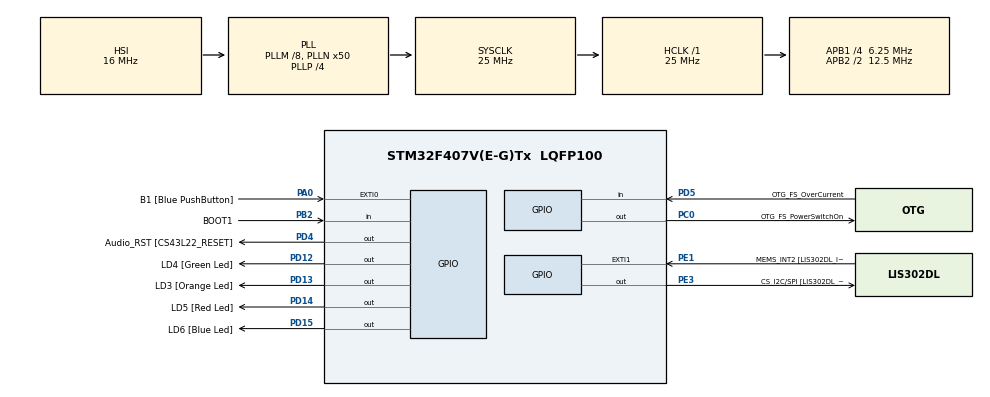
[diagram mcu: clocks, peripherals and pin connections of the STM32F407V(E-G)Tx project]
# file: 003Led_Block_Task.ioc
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Mcu.Family=STM32F4
Mcu.Name=STM32F407V(E-G)Tx
Mcu.Package=LQFP100
NVIC.PriorityGroup=NVIC_PRIORITYGROUP_4
NVIC.TIM6_DAC_IRQn=true\:15\:0\:false\:false\:true\:false\:true\:true
NVIC.TimeBase=TIM6_DAC_IRQn
NVIC.TimeBaseIP=TIM6
PA0-WKUP.GPIO_Label=B1 [Blue PushButton]
PA0-WKUP.Signal=GPXTI0
PA10.GPIO_Label=OTG_FS_ID
PA10.GPIO_Mode=GPIO_MODE_AF_PP
PA10.GPIO_PuPd=GPIO_NOPULL
PA10.GPIO_Speed=GPIO_SPEED_FREQ_LOW
PA10.Signal=USB_OTG_FS_ID
PA11.GPIO_Label=OTG_FS_DM
PA11.GPIO_Mode=GPIO_MODE_AF_PP
PA11.GPIO_PuPd=GPIO_NOPULL
PA11.GPIO_Speed=GPIO_SPEED_FREQ_LOW
PA11.Signal=USB_OTG_FS_DM
PA12.GPIO_Label=OTG_FS_DP
PA12.GPIO_Mode=GPIO_MODE_AF_PP
PA12.GPIO_PuPd=GPIO_NOPULL
PA12.GPIO_Speed=GPIO_SPEED_FREQ_LOW
PA12.Signal=USB_OTG_FS_DP
PA13.GPIO_Label=SWDIO
PA13.Signal=SYS_JTMS-SWDIO
PA14.GPIO_Label=SWCLK
PA14.Signal=SYS_JTCK-SWCLK
PA4.GPIO_Label=I2S3_WS [CS43L22_LRCK]
PA4.GPIO_Mode=GPIO_MODE_AF_PP
PA4.GPIO_PuPd=GPIO_NOPULL
PA4.GPIO_Speed=GPIO_SPEED_FREQ_LOW
PA4.Signal=I2S3_WS
PA5.GPIO_Label=SPI1_SCK [LIS302DL_SCL/SPC]
PA5.GPIO_Mode=GPIO_MODE_AF_PP
PA5.GPIO_PuPd=GPIO_NOPULL
PA5.GPIO_Speed=GPIO_SPEED_FREQ_LOW
PA5.Signal=SPI1_SCK
PA6.GPIO_Label=SPI1_MISO [LIS302DL_SDO]
PA6.GPIO_Mode=GPIO_MODE_AF_PP
PA6.GPIO_PuPd=GPIO_NOPULL
PA6.GPIO_Speed=GPIO_SPEED_FREQ_LOW
PA6.Signal=SPI1_MISO
PA7.GPIO_Label=SPI1_MOSI [LIS302DL_SDA/SDI/SDO]
PA7.GPIO_Mode=GPIO_MODE_AF_PP
PA7.GPIO_PuPd=GPIO_NOPULL
PA7.GPIO_Speed=GPIO_SPEED_FREQ_LOW
PA7.Signal=SPI1_MOSI
PA9.GPIO_Label=VBUS_FS
PA9.GPIO_Mode=GPIO_MODE_INPUT
PA9.GPIO_PuPd=GPIO_NOPULL
PA9.Signal=USB_OTG_FS_VBUS
PB10.GPIO_Label=CLK_IN [MP45DT02_CLK]
PB10.GPIO_Mode=GPIO_MODE_AF_PP
PB10.GPIO_PuPd=GPIO_NOPULL
PB10.GPIO_Speed=GPIO_SPEED_FREQ_LOW
PB10.Signal=I2S2_CK
PB2.GPIO_Label=BOOT1
PB2.GPIO_Mode=GPIO_MODE_INPUT
PB2.GPIO_PuPd=GPIO_NOPULL
PB2.Signal=GPIO_Input
PB3.GPIO_Label=SWO
PB3.Signal=SYS_JTDO-SWO
PB6.GPIO_Label=Audio_SCL [CS43L22_SCL]
PB6.GPIO_Mode=GPIO_MODE_AF_OD
PB6.GPIO_PuPd=GPIO_NOPULL
PB6.GPIO_Speed=GPIO_SPEED_FREQ_LOW
PB6.Signal=I2C1_SCL
PB9.GPIO_Label=Audio_SDA [CS43L22_SDA]
PB9.GPIO_Mode=GPIO_MODE_AF_OD
PB9.GPIO_PuPd=GPIO_NOPULL
PB9.GPIO_Speed=GPIO_SPEED_FREQ_LOW
PB9.Signal=I2C1_SDA
PC0.GPIO_Label=OTG_FS_PowerSwitchOn
PC0.GPIO_PuPd=GPIO_NOPULL
PC0.GPIO_Speed=GPIO_SPEED_FREQ_LOW
PC0.PinState=GPIO_PIN_SET
PC0.Signal=GPIO_Output
PC10.GPIO_Label=I2S3_SCK [CS43L22_SCLK]
PC10.GPIO_Mode=GPIO_MODE_AF_PP
PC10.GPIO_PuPd=GPIO_NOPULL
PC10.GPIO_Speed=GPIO_SPEED_FREQ_LOW
PC10.Signal=I2S3_CK
PC12.GPIO_Label=I2S3_SD [CS43L22_SDIN]
PC12.GPIO_Mode=GPIO_MODE_AF_PP
PC12.GPIO_PuPd=GPIO_NOPULL
PC12.GPIO_Speed=GPIO_SPEED_FREQ_LOW
PC12.Signal=I2S3_SD
PC14-OSC32_IN.GPIO_Label=PC14-OSC32_IN
PC14-OSC32_IN.Signal=RCC_OSC32_IN
PC15-OSC32_OUT.GPIO_Label=PC15-OSC32_OUT
PC15-OSC32_OUT.Signal=RCC_OSC32_OUT
PC3.GPIO_Label=PDM_OUT [MP45DT02_DOUT]
PC3.GPIO_Mode=GPIO_MODE_AF_PP
PC3.GPIO_PuPd=GPIO_NOPULL
PC3.GPIO_Speed=GPIO_SPEED_FREQ_LOW
PC3.Signal=I2S2_SD
PC7.GPIO_Label=I2S3_MCK [CS43L22_MCLK]
PC7.GPIO_Mode=GPIO_MODE_AF_PP
PC7.GPIO_PuPd=GPIO_NOPULL
PC7.GPIO_Speed=GPIO_SPEED_FREQ_LOW
PC7.Signal=I2S3_MCK
PD12.GPIO_Label=LD4 [Green Led]
PD12.GPIO_PuPd=GPIO_NOPULL
PD12.GPIO_Speed=GPIO_SPEED_FREQ_LOW
PD12.Signal=GPIO_Output
PD13.GPIO_Label=LD3 [Orange Led]
PD13.GPIO_PuPd=GPIO_NOPULL
PD13.GPIO_Speed=GPIO_SPEED_FREQ_LOW
PD13.Signal=GPIO_Output
PD14.GPIO_Label=LD5 [Red Led]
PD14.GPIO_PuPd=GPIO_NOPULL
PD14.GPIO_Speed=GPIO_SPEED_FREQ_LOW
PD14.Signal=GPIO_Output
PD15.GPIO_Label=LD6 [Blue Led]
PD15.GPIO_PuPd=GPIO_NOPULL
PD15.GPIO_Speed=GPIO_SPEED_FREQ_LOW
PD15.Signal=GPIO_Output
PD4.GPIO_Label=Audio_RST [CS43L22_RESET]
PD4.GPIO_PuPd=GPIO_NOPULL
PD4.GPIO_Speed=GPIO_SPEED_FREQ_LOW
PD4.Signal=GPIO_Output
PD5.GPIO_Label=OTG_FS_OverCurrent
PD5.GPIO_Mode=GPIO_MODE_INPUT
PD5.GPIO_PuPd=GPIO_NOPULL
PD5.Signal=GPIO_Input
PE1.GPIO_Label=MEMS_INT2 [LIS302DL_INT2]
PE1.GPIO_ModeDefaultEXTI=GPIO_MODE_EVT_RISING
PE1.GPIO_PuPd=GPIO_NOPULL
PE1.Signal=GPXTI1
PE3.GPIO_Label=CS_I2C/SPI [LIS302DL_CS_I2C/SPI]
PE3.GPIO_PuPd=GPIO_NOPULL
PE3.GPIO_Speed=GPIO_SPEED_FREQ_LOW
PE3.Signal=GPIO_Output
PH0-OSC_IN.GPIO_Label=PH0-OSC_IN
PH0-OSC_IN.Signal=RCC_OSC_IN
PH1-OSC_OUT.GPIO_Label=PH1-OSC_OUT
PH1-OSC_OUT.Signal=RCC_OSC_OUT
ProjectManager.HeapSize=0x200
ProjectManager.StackSize=0x400
ProjectManager.TargetToolchain=STM32CubeIDE
RCC.48MHZClocksFreq_Value=14285714.285714285
RCC.AHBFreq_Value=25000000
RCC.APB1CLKDivider=RCC_HCLK_DIV4
RCC.APB1Freq_Value=6250000
RCC.APB1TimFreq_Value=12500000
RCC.APB2CLKDivider=RCC_HCLK_DIV2
RCC.APB2Freq_Value=12500000
RCC.APB2TimFreq_Value=25000000
RCC.CortexFreq_Value=25000000
RCC.HCLKFreq_Value=25000000
RCC.HSE_VALUE=8000000
RCC.HSI_VALUE=16000000
RCC.LSE_VALUE=32768
RCC.PLLM=8
RCC.PLLN=50
RCC.PLLP=RCC_PLLP_DIV4
RCC.PLLQ=7
RCC.SYSCLKFreq_VALUE=25000000
RCC.SYSCLKSource=RCC_SYSCLKSOURCE_PLLCLK
RCC.VCOOutputFreq_Value=100000000
VP_SYS_VS_tim6.Mode=TIM6
board=STM32F407G-DISC1

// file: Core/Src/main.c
/* USER CODE BEGIN Header */
/**
  ******************************************************************************
  * @file           : main.c
  * @brief          : Main program body
  ******************************************************************************
  * @attention
  *
  * Copyright (c) 2025 STMicroelectronics.
  * All rights reserved.
  *
  * This software is licensed under terms that can be found in the LICENSE file
  * in the root directory of this software component.
  * If no LICENSE file comes with this software, it is provided AS-IS.
  *
  ******************************************************************************
  */
/* USER CODE END Header */
#include "main.h"

/* USER CODE BEGIN Includes */
#include <stdio.h>
#include "FreeRTOS.h"
#include "task.h"

/* USER CODE END Includes */

/* USER CODE BEGIN PV */
#define DWT_CTRL	(*(volatile uint32_t*)0xE0001000)

/* USER CODE END PV */

void SystemClock_Config(void);
static void MX_GPIO_Init(void);
/* USER CODE BEGIN PFP */
static void led_green_handler (void * parameters);
static void led_red_handler (void * parameters);
static void led_orange_handler (void * parameters);

extern void SEGGER_UART_init(uint32_t);
/* USER CODE END PFP */

int main(void)
{

  /* USER CODE BEGIN 1 */
	TaskHandle_t task1_handle;
	TaskHandle_t task2_handle;
	TaskHandle_t task3_handle;

	BaseType_t status;
  /* USER CODE END 1 */

  /* MCU Configuration--------------------------------------------------------*/

  /* Reset of all peripherals, Initializes the Flash interface and the Systick. */
  HAL_Init();

  /* Configure the system clock */
  SystemClock_Config();

  /* Initialize all configured peripherals */
  MX_GPIO_Init();
  /* USER CODE BEGIN 2 */

  //Enable the CYCCNT counter.
  DWT_CTRL |= (1 << 0);

  SEGGER_UART_init(250000);

  //call the below API to get the logs in sysview app
  SEGGER_SYSVIEW_Conf();
  //SEGGER_SYSVIEW_Start(); //will be called in segger_uart.c file

  status = xTaskCreate (led_green_handler, "LED_Green_Task", 200, NULL, 2, &task1_handle);
  configASSERT(status == pdPASS);

  status = xTaskCreate (led_red_handler, "LED_Red_Task", 200, NULL, 2, &task2_handle);
  configASSERT(status == pdPASS);

  status = xTaskCreate (led_orange_handler, "LED_Orange_Task", 200, NULL, 2, &task3_handle);
  configASSERT(status == pdPASS);

  //start FreeRTOS Scheduler
  vTaskStartScheduler(); //returns only if it has any problem
  printf("End\n");
  //if control comes here, launch of scheduler failed due to insufficient memory in heap

  /* USER CODE END 2 */

  /* Infinite loop */
  while (1)
  {

  }
}

void SystemClock_Config(void)
{
  RCC_OscInitTypeDef RCC_OscInitStruct = {0};
  RCC_ClkInitTypeDef RCC_ClkInitStruct = {0};

  /** Configure the main internal regulator output voltage
  */
  __HAL_RCC_PWR_CLK_ENABLE();
  __HAL_PWR_VOLTAGESCALING_CONFIG(PWR_REGULATOR_VOLTAGE_SCALE1);

  /** Initializes the RCC Oscillators according to the specified parameters
  * in the RCC_OscInitTypeDef structure.
  */
  RCC_OscInitStruct.OscillatorType = RCC_OSCILLATORTYPE_HSI;
  RCC_OscInitStruct.HSIState = RCC_HSI_ON;
  RCC_OscInitStruct.HSICalibrationValue = RCC_HSICALIBRATION_DEFAULT;
  RCC_OscInitStruct.PLL.PLLState = RCC_PLL_ON;
  RCC_OscInitStruct.PLL.PLLSource = RCC_PLLSOURCE_HSI;
  RCC_OscInitStruct.PLL.PLLM = 8;
  RCC_OscInitStruct.PLL.PLLN = 50;
  RCC_OscInitStruct.PLL.PLLP = RCC_PLLP_DIV4;
  RCC_OscInitStruct.PLL.PLLQ = 7;
  if (HAL_RCC_OscConfig(&RCC_OscInitStruct) != HAL_OK)
  {
    Error_Handler();
  }

  /** Initializes the CPU, AHB and APB buses clocks
  */
  RCC_ClkInitStruct.ClockType = RCC_CLOCKTYPE_HCLK|RCC_CLOCKTYPE_SYSCLK
                              |RCC_CLOCKTYPE_PCLK1|RCC_CLOCKTYPE_PCLK2;
  RCC_ClkInitStruct.SYSCLKSource = RCC_SYSCLKSOURCE_PLLCLK;
  RCC_ClkInitStruct.AHBCLKDivider = RCC_SYSCLK_DIV1;
  RCC_ClkInitStruct.APB1CLKDivider = RCC_HCLK_DIV4;
  RCC_ClkInitStruct.APB2CLKDivider = RCC_HCLK_DIV2;

  if (HAL_RCC_ClockConfig(&RCC_ClkInitStruct, FLASH_LATENCY_0) != HAL_OK)
  {
    Error_Handler();
  }
}

static void MX_GPIO_Init(void)
{
  GPIO_InitTypeDef GPIO_InitStruct = {0};

  /* GPIO Ports Clock Enable */
  __HAL_RCC_GPIOE_CLK_ENABLE();
  __HAL_RCC_GPIOC_CLK_ENABLE();
  __HAL_RCC_GPIOH_CLK_ENABLE();
  __HAL_RCC_GPIOA_CLK_ENABLE();
  __HAL_RCC_GPIOB_CLK_ENABLE();
  __HAL_RCC_GPIOD_CLK_ENABLE();

  /*Configure GPIO pin Output Level */
  HAL_GPIO_WritePin(CS_I2C_SPI_GPIO_Port, CS_I2C_SPI_Pin, GPIO_PIN_RESET);

  /*Configure GPIO pin Output Level */
  HAL_GPIO_WritePin(OTG_FS_PowerSwitchOn_GPIO_Port, OTG_FS_PowerSwitchOn_Pin, GPIO_PIN_SET);

  /*Configure GPIO pin Output Level */
  HAL_GPIO_WritePin(GPIOD, LD4_Pin|LD3_Pin|LD5_Pin|LD6_Pin
                          |Audio_RST_Pin, GPIO_PIN_RESET);

  /*Configure GPIO pin : CS_I2C_SPI_Pin */
  GPIO_InitStruct.Pin = CS_I2C_SPI_Pin;
  GPIO_InitStruct.Mode = GPIO_MODE_OUTPUT_PP;
  GPIO_InitStruct.Pull = GPIO_NOPULL;
  GPIO_InitStruct.Speed = GPIO_SPEED_FREQ_LOW;
  HAL_GPIO_Init(CS_I2C_SPI_GPIO_Port, &GPIO_InitStruct);

  /*Configure GPIO pin : OTG_FS_PowerSwitchOn_Pin */
  GPIO_InitStruct.Pin = OTG_FS_PowerSwitchOn_Pin;
  GPIO_InitStruct.Mode = GPIO_MODE_OUTPUT_PP;
  GPIO_InitStruct.Pull = GPIO_NOPULL;
  GPIO_InitStruct.Speed = GPIO_SPEED_FREQ_LOW;
  HAL_GPIO_Init(OTG_FS_PowerSwitchOn_GPIO_Port, &GPIO_InitStruct);

  /*Configure GPIO pin : PDM_OUT_Pin */
  GPIO_InitStruct.Pin = PDM_OUT_Pin;
  GPIO_InitStruct.Mode = GPIO_MODE_AF_PP;
  GPIO_InitStruct.Pull = GPIO_NOPULL;
  GPIO_InitStruct.Speed = GPIO_SPEED_FREQ_LOW;
  GPIO_InitStruct.Alternate = GPIO_AF5_SPI2;
  HAL_GPIO_Init(PDM_OUT_GPIO_Port, &GPIO_InitStruct);

  /*Configure GPIO pin : B1_Pin */
  GPIO_InitStruct.Pin = B1_Pin;
  GPIO_InitStruct.Mode = GPIO_MODE_IT_RISING;
  GPIO_InitStruct.Pull = GPIO_NOPULL;
  HAL_GPIO_Init(B1_GPIO_Port, &GPIO_InitStruct);

  /*Configure GPIO pin : I2S3_WS_Pin */
  GPIO_InitStruct.Pin = I2S3_WS_Pin;
  GPIO_InitStruct.Mode = GPIO_MODE_AF_PP;
  GPIO_InitStruct.Pull = GPIO_NOPULL;
  GPIO_InitStruct.Speed = GPIO_SPEED_FREQ_LOW;
  GPIO_InitStruct.Alternate = GPIO_AF6_SPI3;
  HAL_GPIO_Init(I2S3_WS_GPIO_Port, &GPIO_InitStruct);

  /*Configure GPIO pins : SPI1_SCK_Pin SPI1_MISO_Pin SPI1_MOSI_Pin */
  GPIO_InitStruct.Pin = SPI1_SCK_Pin|SPI1_MISO_Pin|SPI1_MOSI_Pin;
  GPIO_InitStruct.Mode = GPIO_MODE_AF_PP;
  GPIO_InitStruct.Pull = GPIO_NOPULL;
  GPIO_InitStruct.Speed = GPIO_SPEED_FREQ_LOW;
  GPIO_InitStruct.Alternate = GPIO_AF5_SPI1;
  HAL_GPIO_Init(GPIOA, &GPIO_InitStruct);

  /*Configure GPIO pin : BOOT1_Pin */
  GPIO_InitStruct.Pin = BOOT1_Pin;
  GPIO_InitStruct.Mode = GPIO_MODE_INPUT;
  GPIO_InitStruct.Pull = GPIO_NOPULL;
  HAL_GPIO_Init(BOOT1_GPIO_Port, &GPIO_InitStruct);

  /*Configure GPIO pin : CLK_IN_Pin */
  GPIO_InitStruct.Pin = CLK_IN_Pin;
  GPIO_InitStruct.Mode = GPIO_MODE_AF_PP;
  GPIO_InitStruct.Pull = GPIO_NOPULL;
  GPIO_InitStruct.Speed = GPIO_SPEED_FREQ_LOW;
  GPIO_InitStruct.Alternate = GPIO_AF5_SPI2;
  HAL_GPIO_Init(CLK_IN_GPIO_Port, &GPIO_InitStruct);

  /*Configure GPIO pins : LD4_Pin LD3_Pin LD5_Pin LD6_Pin
                           Audio_RST_Pin */
  GPIO_InitStruct.Pin = LD4_Pin|LD3_Pin|LD5_Pin|LD6_Pin
                          |Audio_RST_Pin;
  GPIO_InitStruct.Mode = GPIO_MODE_OUTPUT_PP;
  GPIO_InitStruct.Pull = GPIO_NOPULL;
  GPIO_InitStruct.Speed = GPIO_SPEED_FREQ_LOW;
  HAL_GPIO_Init(GPIOD, &GPIO_InitStruct);

  /*Configure GPIO pins : I2S3_MCK_Pin I2S3_SCK_Pin I2S3_SD_Pin */
  GPIO_InitStruct.Pin = I2S3_MCK_Pin|I2S3_SCK_Pin|I2S3_SD_Pin;
  GPIO_InitStruct.Mode = GPIO_MODE_AF_PP;
  GPIO_InitStruct.Pull = GPIO_NOPULL;
  GPIO_InitStruct.Speed = GPIO_SPEED_FREQ_LOW;
  GPIO_InitStruct.Alternate = GPIO_AF6_SPI3;
  HAL_GPIO_Init(GPIOC, &GPIO_InitStruct);

  /*Configure GPIO pin : VBUS_FS_Pin */
  GPIO_InitStruct.Pin = VBUS_FS_Pin;
  GPIO_InitStruct.Mode = GPIO_MODE_INPUT;
  GPIO_InitStruct.Pull = GPIO_NOPULL;
  HAL_GPIO_Init(VBUS_FS_GPIO_Port, &GPIO_InitStruct);

  /*Configure GPIO pins : OTG_FS_ID_Pin OTG_FS_DM_Pin OTG_FS_DP_Pin */
  GPIO_InitStruct.Pin = OTG_FS_ID_Pin|OTG_FS_DM_Pin|OTG_FS_DP_Pin;
  GPIO_InitStruct.Mode = GPIO_MODE_AF_PP;
  GPIO_InitStruct.Pull = GPIO_NOPULL;
  GPIO_InitStruct.Speed = GPIO_SPEED_FREQ_LOW;
  GPIO_InitStruct.Alternate = GPIO_AF10_OTG_FS;
  HAL_GPIO_Init(GPIOA, &GPIO_InitStruct);

  /*Configure GPIO pin : OTG_FS_OverCurrent_Pin */
  GPIO_InitStruct.Pin = OTG_FS_OverCurrent_Pin;
  GPIO_InitStruct.Mode = GPIO_MODE_INPUT;
  GPIO_InitStruct.Pull = GPIO_NOPULL;
  HAL_GPIO_Init(OTG_FS_OverCurrent_GPIO_Port, &GPIO_InitStruct);

  /*Configure GPIO pins : Audio_SCL_Pin Audio_SDA_Pin */
  GPIO_InitStruct.Pin = Audio_SCL_Pin|Audio_SDA_Pin;
  GPIO_InitStruct.Mode = GPIO_MODE_AF_OD;
  GPIO_InitStruct.Pull = GPIO_NOPULL;
  GPIO_InitStruct.Speed = GPIO_SPEED_FREQ_LOW;
  GPIO_InitStruct.Alternate = GPIO_AF4_I2C1;
  HAL_GPIO_Init(GPIOB, &GPIO_InitStruct);

  /*Configure GPIO pin : MEMS_INT2_Pin */
  GPIO_InitStruct.Pin = MEMS_INT2_Pin;
  GPIO_InitStruct.Mode = GPIO_MODE_EVT_RISING;
  GPIO_InitStruct.Pull = GPIO_NOPULL;
  HAL_GPIO_Init(MEMS_INT2_GPIO_Port, &GPIO_InitStruct);

}

/* USER CODE BEGIN 4 */
static void led_green_handler (void * parameters)
{
	TickType_t last_wakeup_time = xTaskGetTickCount();
	while(1) {
		printf("%s\n",(char*) parameters);
		HAL_GPIO_TogglePin(GPIOD, LED_GREEN_PIN);
		vTaskDelayUntil(&last_wakeup_time, 1000);
		//HAL_Delay(1000);
		//taskYIELD();
	}
}

static void led_orange_handler (void * parameters)
{
	TickType_t last_wakeup_time = xTaskGetTickCount();
	while(1) {
		printf("%s\n",(char*) parameters);
		HAL_GPIO_TogglePin(GPIOD, LED_ORANGE_PIN);
		vTaskDelayUntil(&last_wakeup_time, 800);

	}
}
static void led_red_handler (void * parameters)
{
	TickType_t last_wakeup_time = xTaskGetTickCount();
	while(1) {
		printf("%s\n",(char*) parameters);
		HAL_GPIO_TogglePin(GPIOD, LED_RED_PIN);
		vTaskDelayUntil(&last_wakeup_time, 400);

	}
}

/* USER CODE END 4 */

void HAL_TIM_PeriodElapsedCallback(TIM_HandleTypeDef *htim)
{
  if (htim->Instance == TIM6)
  {
    HAL_IncTick();
  }
}

void Error_Handler(void)
{
  __disable_irq();
  while (1)
  {
  }
}
